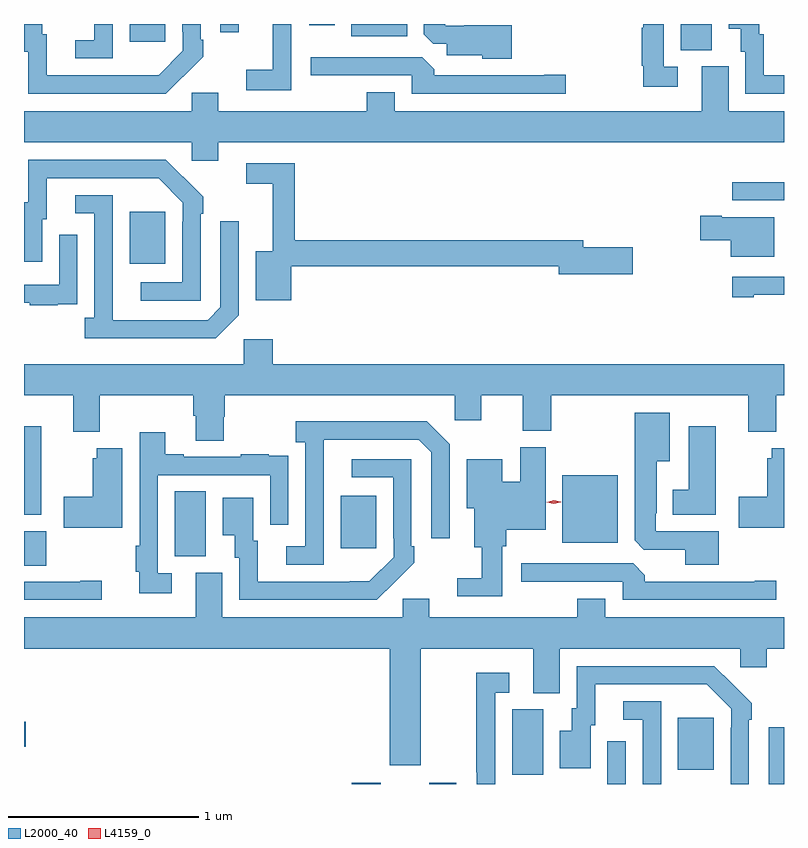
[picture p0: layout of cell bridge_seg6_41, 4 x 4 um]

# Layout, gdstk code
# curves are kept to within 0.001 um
import gdstk
lib = gdstk.Library(unit=1e-6, precision=1e-09)
def R(c, l, rs):  # rectangles x0, y0, x1, y1
    for r in rs: c.add(gdstk.rectangle(r[:2], r[2:], *l))
def P(c, l, *ps):  # polygons
    for p in ps: c.add(gdstk.Polygon(p, *l))
L2000_40 = (2000, 40)
L4159_0 = (4159, 0)

bridge_seg6_41 = lib.new_cell('bridge_seg6_41')
R(bridge_seg6_41, L2000_40, [(1067.129,970.599,1067.281,970.606), (1067.537,970.599,1067.677,970.606), (1068.474,970.599,1068.57,970.825), (1069.323,970.599,1069.403,970.897), (1067.972,970.648,1068.136,970.992), (1068.845,970.673,1069.033,970.948), (1065.403,970.796,1065.412,970.926), (1065.403,971.749,1065.521,971.928), (1066.196,971.797,1066.36,972.14), (1067.069,971.841,1067.257,972.115), (1068.236,971.87,1068.529,972.223), (1065.403,972.017,1065.493,972.481), (1065.959,973.337,1066.147,973.612), (1069.131,973.671,1069.403,973.767), (1068.86,974.461,1069.024,974.599), (1065.959,974.505,1066.147,974.599), (1067.126,974.534,1067.419,974.599), (1066.437,974.556,1066.533,974.599), (1066.904,974.592,1067.038,974.599)])
P(bridge_seg6_41, L2000_40, [(1068.844,974.373),(1068.771,974.373),(1068.771,974.599),(1068.663,974.599),(1068.663,974.58),(1068.655,974.58),(1068.655,974.38),(1068.663,974.38),(1068.663,974.268),(1068.844,974.268)],
  [(1069.403,974.328),(1069.297,974.328),(1069.297,974.544),(1069.273,974.544),(1069.273,974.599),(1069.112,974.599),(1069.112,974.573),(1069.175,974.573),(1069.175,974.454),(1069.2,974.454),(1069.2,974.232),(1069.403,974.232)],
  [(1066.241,974.323),(1066.242,974.322),(1066.347,974.427),(1066.347,974.515),(1066.332,974.515),(1066.332,974.599),(1066.236,974.599),(1066.236,974.557),(1066.239,974.557),(1066.239,974.457),(1066.111,974.329),(1066.007,974.328),(1065.523,974.328),(1065.523,974.544),(1065.499,974.544),(1065.499,974.599),(1065.403,974.599),(1065.403,974.454),(1065.426,974.454),(1065.426,974.232),(1066.15,974.232)],
  [(1065.87,974.599),(1065.774,974.599),(1065.774,974.514),(1065.672,974.514),(1065.672,974.418),(1065.87,974.418)],
  [(1066.809,974.599),(1066.712,974.599),(1066.712,974.359),(1066.572,974.359),(1066.572,974.25),(1066.809,974.25)],
  [(1067.971,974.593),(1067.719,974.593),(1067.719,974.589),(1067.619,974.589),(1067.619,974.599),(1067.507,974.599),(1067.507,974.545),(1067.556,974.496),(1067.627,974.496),(1067.627,974.435),(1067.814,974.435),(1067.814,974.417),(1067.971,974.417)],
  [(1068.253,974.333),(1068.14,974.333),(1068.14,974.328),(1067.561,974.328),(1067.561,974.362),(1067.499,974.424),(1066.911,974.424),(1066.911,974.328),(1067.445,974.328),(1067.445,974.232),(1068.253,974.232)],
  [(1066.426,973.976),(1069.403,973.976),(1069.403,974.14),(1069.111,974.14),(1069.111,974.376),(1068.971,974.376),(1068.971,974.14),(1067.353,974.14),(1067.353,974.239),(1067.206,974.239),(1067.206,974.14),(1066.426,974.14),(1066.426,974.238),(1066.287,974.238),(1066.287,974.14),(1065.403,974.14),(1065.403,973.976),(1066.287,973.976),(1066.287,973.878),(1066.426,973.878)],
  [(1066.332,973.601),(1066.347,973.601),(1066.347,973.689),(1066.15,973.884),(1065.426,973.884),(1065.426,973.662),(1065.403,973.662),(1065.403,973.347),(1065.499,973.347),(1065.499,973.572),(1065.523,973.572),(1065.523,973.788),(1066.111,973.788),(1066.239,973.659),(1066.239,973.559),(1066.236,973.559),(1066.236,973.239),(1066.017,973.239),(1066.017,973.143),(1066.332,973.143)],
  [(1066.809,973.324),(1068.218,973.324),(1068.218,973.282),(1068.607,973.282),(1068.607,973.424),(1068.346,973.424),(1068.346,973.46),(1066.829,973.46),(1066.829,973.866),(1066.572,973.866),(1066.572,973.758),(1066.712,973.758),(1066.712,973.402),(1066.622,973.402),(1066.622,973.145),(1066.809,973.145)],
  [(1066.533,973.065),(1066.533,973.561),(1066.437,973.561),(1066.437,973.107),(1066.371,973.041),(1065.871,973.041),(1065.87,973.698),(1065.672,973.698),(1065.672,973.602),(1065.774,973.602),(1065.774,973.054),(1065.723,973.054),(1065.723,972.944),(1066.412,972.944)],
  [(1069.351,973.582),(1069.075,973.582),(1069.075,973.59),(1068.963,973.59),(1068.963,973.46),(1069.124,973.46),(1069.124,973.373),(1069.351,973.373)],
  [(1065.581,973.125),(1065.683,973.125),(1065.683,973.234),(1065.684,973.234),(1065.684,973.489),(1065.588,973.489),(1065.588,973.227),(1065.403,973.227),(1065.403,973.131),(1065.433,973.131),(1065.433,973.119),(1065.581,973.119)],
  [(1069.243,973.173),(1069.403,973.173),(1069.403,973.269),(1069.131,973.269),(1069.131,973.161),(1069.243,973.161)],
  [(1066.455,972.531),(1066.46,972.531),(1066.46,972.644),(1067.67,972.644),(1067.67,972.513),(1067.809,972.513),(1067.809,972.644),(1068.029,972.644),(1068.029,972.457),(1068.177,972.457),(1068.177,972.644),(1069.214,972.644),(1069.214,972.452),(1069.362,972.452),(1069.362,972.644),(1069.403,972.644),(1069.403,972.808),(1066.712,972.808),(1066.712,972.94),(1066.56,972.94),(1066.56,972.808),(1065.403,972.808),(1065.403,972.644),(1065.662,972.644),(1065.662,972.452),(1065.802,972.452),(1065.802,972.644),(1066.295,972.644),(1066.295,972.538),(1066.307,972.538),(1066.307,972.406),(1066.455,972.406)],
  [(1069.06,971.928),(1068.729,971.928),(1068.729,972.025),(1068.733,972.025),(1068.733,972.299),(1068.802,972.299),(1068.802,972.553),(1068.617,972.553),(1068.617,971.881),(1068.666,971.832),(1068.884,971.832),(1068.884,971.753),(1069.06,971.753)],
  [(1066.98,972.211),(1066.981,972.411),(1067.481,972.411),(1067.547,972.345),(1067.547,971.892),(1067.643,971.892),(1067.643,972.387),(1067.522,972.508),(1066.833,972.508),(1066.833,972.398),(1066.884,972.398),(1066.884,971.85),(1066.782,971.85),(1066.782,971.754),(1066.98,971.754)],
  [(1069.045,972.481),(1068.902,972.481),(1068.902,972.148),(1068.818,972.148),(1068.818,972.017),(1069.045,972.017)],
  [(1066.18,971.709),(1066.107,971.709),(1066.107,972.225),(1066.698,972.225),(1066.698,971.964),(1066.794,971.964),(1066.794,972.218),(1066.793,972.218),(1066.793,972.327),(1066.691,972.327),(1066.691,972.334),(1066.543,972.334),(1066.543,972.321),(1066.243,972.321),(1066.243,972.334),(1066.147,972.334),(1066.147,972.451),(1066.011,972.451),(1066.011,971.852),(1065.991,971.852),(1065.991,971.716),(1066.01,971.716),(1066.01,971.604),(1066.18,971.604)],
  [(1067.919,971.85),(1067.94,971.85),(1067.94,971.936),(1068.148,971.936),(1068.148,972.372),(1068.014,972.372),(1068.014,972.19),(1067.92,972.19),(1067.92,972.307),(1067.732,972.307),(1067.732,972.05),(1067.774,972.05),(1067.774,971.846),(1067.811,971.846),(1067.811,971.683),(1067.682,971.683),(1067.682,971.586),(1067.919,971.586)],
  [(1065.919,972.367),(1065.787,972.367),(1065.787,972.313),(1065.764,972.313),(1065.764,972.111),(1065.612,972.111),(1065.612,971.948),(1065.919,971.948)],
  [(1069.403,972.367),(1069.339,972.367),(1069.339,972.313),(1069.316,972.313),(1069.316,972.111),(1069.164,972.111),(1069.164,971.948),(1069.403,971.948)],
  [(1067.351,971.659),(1067.352,971.658),(1067.457,971.763),(1067.457,971.851),(1067.442,971.851),(1067.442,972.309),(1067.127,972.309),(1067.127,972.213),(1067.346,972.213),(1067.346,971.893),(1067.349,971.893),(1067.349,971.793),(1067.221,971.665),(1066.633,971.664),(1066.633,971.88),(1066.609,971.88),(1066.609,972.106),(1066.448,972.106),(1066.448,971.909),(1066.511,971.909),(1066.511,971.79),(1066.536,971.79),(1066.536,971.568),(1067.26,971.568)],
  [(1069.363,971.669),(1069.25,971.669),(1069.25,971.664),(1068.671,971.664),(1068.671,971.698),(1068.609,971.76),(1068.021,971.76),(1068.021,971.664),(1068.555,971.664),(1068.555,971.568),(1069.363,971.568)],
  [(1067.491,971.312),(1068.083,971.312),(1068.083,971.077),(1068.223,971.077),(1068.223,971.312),(1069.173,971.312),(1069.173,971.214),(1069.312,971.214),(1069.312,971.312),(1069.403,971.312),(1069.403,971.476),(1068.463,971.476),(1068.463,971.575),(1068.316,971.575),(1068.316,971.476),(1067.536,971.476),(1067.536,971.574),(1067.397,971.574),(1067.397,971.476),(1066.447,971.476),(1066.447,971.712),(1066.307,971.712),(1066.307,971.476),(1065.403,971.476),(1065.403,971.312),(1067.327,971.312),(1067.327,970.698),(1067.491,970.698)],
  [(1065.811,971.669),(1065.698,971.669),(1065.698,971.664),(1065.403,971.664),(1065.403,971.568),(1065.811,971.568)],
  [(1069.218,970.937),(1069.233,970.937),(1069.233,971.025),(1069.036,971.22),(1068.312,971.22),(1068.312,970.998),(1068.287,970.998),(1068.287,970.879),(1068.224,970.879),(1068.224,970.683),(1068.385,970.683),(1068.385,970.908),(1068.409,970.908),(1068.409,971.124),(1068.997,971.124),(1069.125,970.995),(1069.125,970.895),(1069.122,970.895),(1069.122,970.599),(1069.218,970.599)],
  [(1067.883,971.079),(1067.956,971.079),(1067.956,971.185),(1067.782,971.185),(1067.782,970.66),(1067.787,970.66),(1067.787,970.599),(1067.883,970.599)],
  [(1068.756,971.034),(1068.558,971.034),(1068.558,970.938),(1068.66,970.938),(1068.66,970.599),(1068.756,970.599)])
P(bridge_seg6_41, L4159_0, [(1068.191,972.073),(1068.154,972.082),(1068.153,972.082),(1068.154,972.083),(1068.191,972.093),(1068.228,972.084),(1068.229,972.083),(1068.228,972.083)])

lib.write_gds('bridge_seg6_41.gds')
